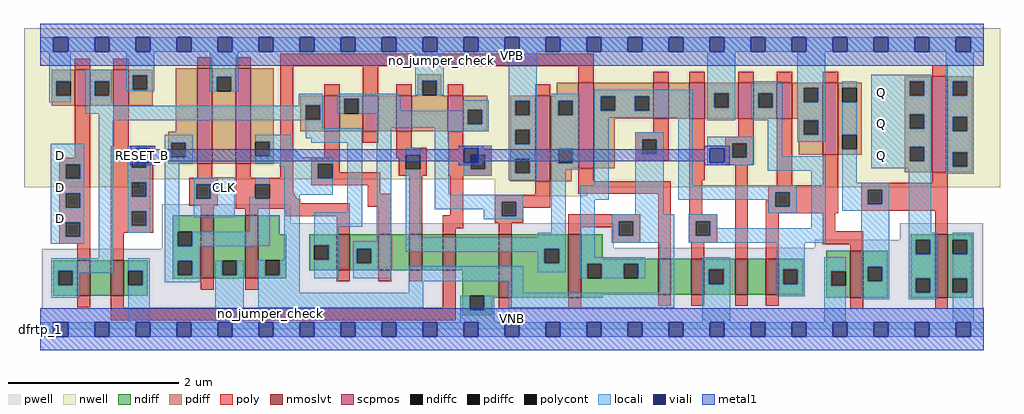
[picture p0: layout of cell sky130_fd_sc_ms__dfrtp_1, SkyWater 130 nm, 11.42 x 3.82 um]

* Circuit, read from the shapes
.subckt sky130_fd_sc_ms__dfrtp_1 CLK D RESET_B VGND VNB VPB VPWR Q
XM1 n1 D n2 VNB sky130_fd_pr__nfet_01v8_lvt w=0.42 l=0.15
XM2 VGND RESET_B n1 VNB sky130_fd_pr__nfet_01v8_lvt w=0.42 l=0.15
XM3 VGND CLK n3 VNB sky130_fd_pr__nfet_01v8_lvt w=0.74 l=0.15
XM4 n4 n3 VGND VNB sky130_fd_pr__nfet_01v8_lvt w=0.74 l=0.15
XM5 n5 n3 n2 VNB sky130_fd_pr__nfet_01v8_lvt w=0.42 l=0.15
XM6 n6 n4 n5 VNB sky130_fd_pr__nfet_01v8_lvt w=0.42 l=0.15
XM7 n7 n8 n6 VNB sky130_fd_pr__nfet_01v8_lvt w=0.42 l=0.15
XM8 VGND RESET_B n7 VNB sky130_fd_pr__nfet_01v8_lvt w=0.42 l=0.15
XM9 n8 n5 VGND VNB sky130_fd_pr__nfet_01v8_lvt w=0.74 l=0.15
XM10 n9 n4 n8 VNB sky130_fd_pr__nfet_01v8_lvt w=0.74 l=0.15
XM11 n10 n3 n9 VNB sky130_fd_pr__nfet_01v8_lvt w=0.42 l=0.15
XM12 VGND n11 n10 VNB sky130_fd_pr__nfet_01v8_lvt w=0.42 l=0.15
XM13 n12 RESET_B VGND VNB sky130_fd_pr__nfet_01v8_lvt w=0.42 l=0.15
XM14 n11 n9 n12 VNB sky130_fd_pr__nfet_01v8_lvt w=0.42 l=0.15
XM15 n13 n9 VGND VNB sky130_fd_pr__nfet_01v8_lvt w=0.55 l=0.15
XM16 VGND n13 Q VNB sky130_fd_pr__nfet_01v8_lvt w=0.74 l=0.15
XM17 n2 D VPWR VPB sky130_fd_pr__pfet_01v8 w=0.42 l=0.18
XM18 VPWR RESET_B n2 VPB sky130_fd_pr__pfet_01v8 w=0.42 l=0.18
XM19 VPWR CLK n3 VPB sky130_fd_pr__pfet_01v8 w=1.12 l=0.18
XM20 n4 n3 VPWR VPB sky130_fd_pr__pfet_01v8 w=1.12 l=0.18
XM21 n5 n4 n2 VPB sky130_fd_pr__pfet_01v8 w=0.42 l=0.18
XM22 n14 n3 n5 VPB sky130_fd_pr__pfet_01v8 w=0.42 l=0.18
XM23 VPWR n8 n14 VPB sky130_fd_pr__pfet_01v8 w=0.42 l=0.18
XM24 n5 RESET_B VPWR VPB sky130_fd_pr__pfet_01v8 w=0.42 l=0.18
XM25 n8 n5 VPWR VPB sky130_fd_pr__pfet_01v8 w=1 l=0.18
XM26 n9 n3 n8 VPB sky130_fd_pr__pfet_01v8 w=1 l=0.18
XM27 n15 n4 n9 VPB sky130_fd_pr__pfet_01v8 w=0.42 l=0.18
XM28 VPWR n11 n15 VPB sky130_fd_pr__pfet_01v8 w=0.42 l=0.18
XM29 n11 RESET_B VPWR VPB sky130_fd_pr__pfet_01v8 w=0.42 l=0.18
XM30 VPWR n9 n11 VPB sky130_fd_pr__pfet_01v8 w=0.42 l=0.18
XM31 n13 n9 VPWR VPB sky130_fd_pr__pfet_01v8 w=0.84 l=0.18
XM32 VPWR n13 Q VPB sky130_fd_pr__pfet_01v8 w=1.12 l=0.18
.ends

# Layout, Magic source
magic
tech sky130A
magscale 1 2
<< nwell >>
rect -38 351 2246 704
rect -38 332 230 351
rect 1064 332 2246 351
rect 1064 311 1280 332
<< pwell >>
rect 284 248 586 293
rect 284 191 1342 248
rect 2011 210 2207 248
rect 1813 191 2207 210
rect 284 188 2207 191
rect 4 49 2207 188
rect 0 0 2208 49
<< scpmos >>
rect 81 523 117 607
rect 171 523 207 607
rect 367 387 403 611
rect 457 387 493 611
rect 665 463 701 547
rect 755 463 791 547
rect 833 463 869 547
rect 954 463 990 547
rect 1158 347 1194 547
rect 1259 377 1295 577
rect 1435 493 1471 577
rect 1519 493 1555 577
rect 1634 493 1670 577
rect 1724 493 1760 577
rect 1831 409 1867 577
rect 2088 368 2124 592
<< nmoslvt >>
rect 87 78 117 162
rect 165 78 195 162
rect 376 119 406 267
rect 480 119 510 267
rect 694 138 724 222
rect 791 138 821 222
rect 864 138 894 222
rect 942 138 972 222
rect 1073 74 1103 222
rect 1236 74 1266 222
rect 1446 81 1476 165
rect 1524 81 1554 165
rect 1626 81 1656 165
rect 1698 81 1728 165
rect 1896 74 1926 184
rect 2094 74 2124 222
<< ndiff >>
rect 310 228 376 267
rect 310 194 322 228
rect 356 194 376 228
rect 30 137 87 162
rect 30 103 42 137
rect 76 103 87 137
rect 30 78 87 103
rect 117 78 165 162
rect 195 137 252 162
rect 195 103 206 137
rect 240 103 252 137
rect 310 160 376 194
rect 310 126 322 160
rect 356 126 376 160
rect 310 119 376 126
rect 406 160 480 267
rect 406 126 426 160
rect 460 126 480 160
rect 406 119 480 126
rect 510 222 560 267
rect 510 161 576 222
rect 510 127 526 161
rect 560 127 576 161
rect 630 197 694 222
rect 630 163 641 197
rect 675 163 694 197
rect 630 138 694 163
rect 724 189 791 222
rect 724 155 741 189
rect 775 155 791 189
rect 724 138 791 155
rect 821 138 864 222
rect 894 138 942 222
rect 972 138 1073 222
rect 510 119 576 127
rect 310 118 361 119
rect 195 78 252 103
rect 421 118 465 119
rect 987 79 1073 138
rect 987 45 1005 79
rect 1039 74 1073 79
rect 1103 188 1236 222
rect 1103 154 1180 188
rect 1214 154 1236 188
rect 1103 74 1236 154
rect 1266 165 1316 222
rect 2037 210 2094 222
rect 1266 153 1446 165
rect 1266 119 1280 153
rect 1314 119 1366 153
rect 1400 119 1446 153
rect 1266 81 1446 119
rect 1476 81 1524 165
rect 1554 140 1626 165
rect 1554 106 1565 140
rect 1599 106 1626 140
rect 1554 81 1626 106
rect 1656 81 1698 165
rect 1728 140 1785 165
rect 1728 106 1739 140
rect 1773 106 1785 140
rect 1728 81 1785 106
rect 1839 136 1896 184
rect 1839 102 1851 136
rect 1885 102 1896 136
rect 1266 74 1316 81
rect 1039 45 1058 74
rect 1839 74 1896 102
rect 1926 146 1983 184
rect 1926 112 1937 146
rect 1971 112 1983 146
rect 1926 74 1983 112
rect 2037 176 2049 210
rect 2083 176 2094 210
rect 2037 120 2094 176
rect 2037 86 2049 120
rect 2083 86 2094 120
rect 2037 74 2094 86
rect 2124 210 2181 222
rect 2124 176 2135 210
rect 2169 176 2181 210
rect 2124 120 2181 176
rect 2124 86 2135 120
rect 2169 86 2181 120
rect 2124 74 2181 86
rect 987 33 1058 45
<< pdiff >>
rect 27 581 81 607
rect 27 547 37 581
rect 71 547 81 581
rect 27 523 81 547
rect 117 581 171 607
rect 117 547 127 581
rect 161 547 171 581
rect 117 523 171 547
rect 207 595 263 607
rect 207 561 217 595
rect 251 561 263 595
rect 207 523 263 561
rect 317 462 367 611
rect 299 437 367 462
rect 299 403 307 437
rect 341 403 367 437
rect 299 387 367 403
rect 403 591 457 611
rect 403 557 413 591
rect 447 557 457 591
rect 403 387 457 557
rect 493 439 547 611
rect 493 405 503 439
rect 537 405 547 439
rect 493 387 547 405
rect 884 582 939 597
rect 884 548 894 582
rect 928 548 939 582
rect 2023 580 2088 592
rect 884 547 939 548
rect 1209 547 1259 577
rect 609 524 665 547
rect 609 490 621 524
rect 655 490 665 524
rect 609 463 665 490
rect 701 539 755 547
rect 701 505 711 539
rect 745 505 755 539
rect 701 463 755 505
rect 791 463 833 547
rect 869 463 954 547
rect 990 514 1046 547
rect 990 480 1000 514
rect 1034 480 1046 514
rect 990 463 1046 480
rect 1100 535 1158 547
rect 1100 501 1112 535
rect 1146 501 1158 535
rect 1100 467 1158 501
rect 1100 433 1112 467
rect 1146 433 1158 467
rect 1100 399 1158 433
rect 1100 365 1112 399
rect 1146 365 1158 399
rect 1100 347 1158 365
rect 1194 535 1259 547
rect 1194 501 1212 535
rect 1246 501 1259 535
rect 1194 423 1259 501
rect 1194 389 1212 423
rect 1246 389 1259 423
rect 1194 377 1259 389
rect 1295 545 1435 577
rect 1295 511 1312 545
rect 1346 511 1391 545
rect 1425 511 1435 545
rect 1295 493 1435 511
rect 1471 493 1519 577
rect 1555 552 1634 577
rect 1555 518 1577 552
rect 1611 518 1634 552
rect 1555 493 1634 518
rect 1670 552 1724 577
rect 1670 518 1680 552
rect 1714 518 1724 552
rect 1670 493 1724 518
rect 1760 565 1831 577
rect 1760 531 1787 565
rect 1821 531 1831 565
rect 1760 493 1831 531
rect 1295 377 1345 493
rect 1194 347 1244 377
rect 1775 489 1831 493
rect 1775 455 1787 489
rect 1821 455 1831 489
rect 1775 409 1831 455
rect 1867 565 1923 577
rect 1867 531 1877 565
rect 1911 531 1923 565
rect 1867 455 1923 531
rect 1867 421 1877 455
rect 1911 421 1923 455
rect 1867 409 1923 421
rect 2023 546 2035 580
rect 2069 546 2088 580
rect 2023 503 2088 546
rect 2023 469 2035 503
rect 2069 469 2088 503
rect 2023 427 2088 469
rect 2023 393 2035 427
rect 2069 393 2088 427
rect 2023 368 2088 393
rect 2124 580 2181 592
rect 2124 546 2135 580
rect 2169 546 2181 580
rect 2124 497 2181 546
rect 2124 463 2135 497
rect 2169 463 2181 497
rect 2124 414 2181 463
rect 2124 380 2135 414
rect 2169 380 2181 414
rect 2124 368 2181 380
<< ndiffc >>
rect 322 194 356 228
rect 42 103 76 137
rect 206 103 240 137
rect 322 126 356 160
rect 426 126 460 160
rect 526 127 560 161
rect 641 163 675 197
rect 741 155 775 189
rect 1005 45 1039 79
rect 1180 154 1214 188
rect 1280 119 1314 153
rect 1366 119 1400 153
rect 1565 106 1599 140
rect 1739 106 1773 140
rect 1851 102 1885 136
rect 1937 112 1971 146
rect 2049 176 2083 210
rect 2049 86 2083 120
rect 2135 176 2169 210
rect 2135 86 2169 120
<< pdiffc >>
rect 37 547 71 581
rect 127 547 161 581
rect 217 561 251 595
rect 307 403 341 437
rect 413 557 447 591
rect 503 405 537 439
rect 894 548 928 582
rect 621 490 655 524
rect 711 505 745 539
rect 1000 480 1034 514
rect 1112 501 1146 535
rect 1112 433 1146 467
rect 1112 365 1146 399
rect 1212 501 1246 535
rect 1212 389 1246 423
rect 1312 511 1346 545
rect 1391 511 1425 545
rect 1577 518 1611 552
rect 1680 518 1714 552
rect 1787 531 1821 565
rect 1787 455 1821 489
rect 1877 531 1911 565
rect 1877 421 1911 455
rect 2035 546 2069 580
rect 2035 469 2069 503
rect 2035 393 2069 427
rect 2135 546 2169 580
rect 2135 463 2169 497
rect 2135 380 2169 414
<< poly >>
rect 81 607 117 633
rect 171 607 207 633
rect 367 611 403 637
rect 457 611 493 637
rect 562 615 1295 645
rect 81 402 117 523
rect 171 428 207 523
rect 44 386 117 402
rect 44 352 60 386
rect 94 352 117 386
rect 44 318 117 352
rect 44 284 60 318
rect 94 284 117 318
rect 44 250 117 284
rect 44 216 60 250
rect 94 216 117 250
rect 44 200 117 216
rect 87 162 117 200
rect 165 412 264 428
rect 165 378 214 412
rect 248 378 264 412
rect 165 344 264 378
rect 367 355 403 387
rect 457 355 493 387
rect 562 355 592 615
rect 665 547 701 573
rect 755 547 791 615
rect 833 547 869 573
rect 1259 577 1295 615
rect 1435 577 1471 603
rect 1519 577 1555 603
rect 1634 577 1670 603
rect 1724 577 1760 603
rect 1831 577 1867 603
rect 2088 592 2124 618
rect 954 547 990 573
rect 1158 547 1194 573
rect 665 403 701 463
rect 755 437 791 463
rect 165 310 214 344
rect 248 310 264 344
rect 165 276 264 310
rect 349 339 415 355
rect 349 305 365 339
rect 399 305 415 339
rect 349 289 415 305
rect 457 339 592 355
rect 457 305 503 339
rect 537 318 592 339
rect 634 387 701 403
rect 833 425 869 463
rect 954 437 990 463
rect 955 425 990 437
rect 833 409 905 425
rect 833 400 855 409
rect 634 353 650 387
rect 684 367 701 387
rect 839 375 855 400
rect 889 375 905 409
rect 684 353 796 367
rect 839 359 905 375
rect 955 409 1057 425
rect 955 375 1007 409
rect 1041 375 1057 409
rect 955 359 1057 375
rect 634 337 796 353
rect 537 313 596 318
rect 766 317 796 337
rect 537 307 599 313
rect 537 305 604 307
rect 457 304 604 305
rect 457 295 608 304
rect 165 242 214 276
rect 248 242 264 276
rect 376 267 406 289
rect 457 282 724 295
rect 766 287 821 317
rect 480 267 510 282
rect 571 278 724 282
rect 165 226 264 242
rect 165 162 195 226
rect 575 265 724 278
rect 694 222 724 265
rect 791 222 821 287
rect 864 222 894 359
rect 960 267 990 359
rect 1435 461 1471 493
rect 1393 445 1471 461
rect 1393 411 1409 445
rect 1443 411 1471 445
rect 1393 395 1471 411
rect 1259 347 1295 377
rect 1519 349 1555 493
rect 1634 451 1670 493
rect 1603 435 1670 451
rect 1603 401 1619 435
rect 1653 401 1670 435
rect 1603 385 1670 401
rect 1158 315 1194 347
rect 1259 317 1476 347
rect 942 237 990 267
rect 1064 299 1194 315
rect 1064 265 1080 299
rect 1114 285 1194 299
rect 1114 265 1130 285
rect 1064 249 1130 265
rect 1236 253 1404 269
rect 942 222 972 237
rect 1073 222 1103 249
rect 1236 239 1354 253
rect 1236 222 1266 239
rect 376 93 406 119
rect 480 93 510 119
rect 694 112 724 138
rect 791 112 821 138
rect 864 112 894 138
rect 87 52 117 78
rect 165 51 195 78
rect 942 51 972 138
rect 165 21 972 51
rect 1338 219 1354 239
rect 1388 219 1404 253
rect 1338 203 1404 219
rect 1446 165 1476 317
rect 1519 269 1549 349
rect 1518 253 1584 269
rect 1518 219 1534 253
rect 1568 219 1584 253
rect 1518 203 1584 219
rect 1524 165 1554 203
rect 1626 165 1656 385
rect 1724 337 1760 493
rect 1831 337 1867 409
rect 2088 343 2124 368
rect 1704 321 1867 337
rect 1704 301 1720 321
rect 1698 287 1720 301
rect 1754 287 1867 321
rect 1698 271 1867 287
rect 1921 327 2124 343
rect 1921 293 1937 327
rect 1971 293 2124 327
rect 1921 277 2124 293
rect 1698 165 1728 271
rect 1831 229 1861 271
rect 1831 199 1926 229
rect 2094 222 2124 277
rect 1896 184 1926 199
rect 1073 48 1103 74
rect 1236 48 1266 74
rect 1446 55 1476 81
rect 1524 55 1554 81
rect 1626 55 1656 81
rect 1698 55 1728 81
rect 1896 48 1926 74
rect 2094 48 2124 74
<< polycont >>
rect 60 352 94 386
rect 60 284 94 318
rect 60 216 94 250
rect 214 378 248 412
rect 214 310 248 344
rect 365 305 399 339
rect 503 305 537 339
rect 650 353 684 387
rect 855 375 889 409
rect 1007 375 1041 409
rect 214 242 248 276
rect 1409 411 1443 445
rect 1619 401 1653 435
rect 1080 265 1114 299
rect 1354 219 1388 253
rect 1534 219 1568 253
rect 1720 287 1754 321
rect 1937 293 1971 327
<< locali >>
rect 0 649 31 683
rect 65 649 127 683
rect 161 649 223 683
rect 257 649 319 683
rect 353 649 415 683
rect 449 649 511 683
rect 545 649 607 683
rect 641 649 703 683
rect 737 649 799 683
rect 833 649 895 683
rect 929 649 991 683
rect 1025 649 1087 683
rect 1121 649 1183 683
rect 1217 649 1279 683
rect 1313 649 1375 683
rect 1409 649 1471 683
rect 1505 649 1567 683
rect 1601 649 1663 683
rect 1697 649 1759 683
rect 1793 649 1855 683
rect 1889 649 1951 683
rect 1985 649 2047 683
rect 2081 649 2143 683
rect 2177 649 2208 683
rect 21 581 71 649
rect 21 547 37 581
rect 21 531 71 547
rect 105 581 167 607
rect 105 547 127 581
rect 161 547 167 581
rect 201 595 267 649
rect 201 561 217 595
rect 251 561 267 595
rect 201 557 267 561
rect 397 591 463 649
rect 397 557 413 591
rect 447 557 463 591
rect 878 582 944 649
rect 105 530 167 547
rect 105 525 173 530
rect 105 523 177 525
rect 605 524 661 551
rect 605 523 621 524
rect 105 504 621 523
rect 137 490 621 504
rect 655 490 661 524
rect 695 539 843 551
rect 878 548 894 582
rect 928 548 944 582
rect 695 505 711 539
rect 745 512 843 539
rect 990 514 1050 536
rect 990 512 1000 514
rect 745 505 1000 512
rect 137 489 661 490
rect 25 386 103 434
rect 25 352 60 386
rect 94 352 103 386
rect 25 318 103 352
rect 25 284 60 318
rect 94 284 103 318
rect 25 250 103 284
rect 25 216 60 250
rect 94 216 103 250
rect 25 200 103 216
rect 137 166 171 489
rect 621 471 661 489
rect 787 480 1000 505
rect 1034 480 1050 514
rect 787 472 1050 480
rect 291 437 357 455
rect 205 424 257 428
rect 205 412 223 424
rect 205 378 214 412
rect 248 378 257 390
rect 205 344 257 378
rect 205 310 214 344
rect 248 310 257 344
rect 205 276 257 310
rect 205 242 214 276
rect 248 242 257 276
rect 205 226 257 242
rect 291 403 307 437
rect 341 403 357 437
rect 291 389 357 403
rect 503 439 587 455
rect 621 447 753 471
rect 537 426 587 439
rect 634 437 753 447
rect 537 422 592 426
rect 537 418 596 422
rect 537 412 603 418
rect 537 407 606 412
rect 537 405 610 407
rect 503 403 610 405
rect 503 389 685 403
rect 291 228 325 389
rect 561 387 685 389
rect 561 380 650 387
rect 409 355 455 356
rect 359 339 455 355
rect 359 305 365 339
rect 399 305 455 339
rect 503 339 537 355
rect 359 262 455 305
rect 489 305 503 310
rect 489 228 537 305
rect 291 194 322 228
rect 356 195 537 228
rect 571 353 650 380
rect 684 353 685 387
rect 571 315 685 353
rect 356 194 500 195
rect 26 137 171 166
rect 26 103 42 137
rect 76 132 171 137
rect 206 137 256 166
rect 76 103 92 132
rect 26 74 92 103
rect 240 103 256 137
rect 291 160 374 194
rect 571 161 607 315
rect 719 274 753 437
rect 291 126 322 160
rect 356 126 374 160
rect 291 110 374 126
rect 410 126 426 160
rect 460 126 476 160
rect 206 17 256 103
rect 410 17 476 126
rect 510 127 526 161
rect 560 127 607 161
rect 510 85 607 127
rect 641 240 753 274
rect 641 197 699 240
rect 787 206 821 472
rect 923 464 1050 472
rect 1096 535 1162 649
rect 1096 501 1112 535
rect 1146 501 1162 535
rect 1096 467 1162 501
rect 675 163 699 197
rect 641 119 699 163
rect 733 189 821 206
rect 733 155 741 189
rect 775 155 821 189
rect 855 409 889 425
rect 855 215 889 375
rect 923 315 957 464
rect 1096 433 1112 467
rect 1146 433 1162 467
rect 991 424 1057 430
rect 1025 409 1057 424
rect 991 375 1007 390
rect 1041 375 1057 409
rect 991 359 1057 375
rect 1096 399 1162 433
rect 1096 365 1112 399
rect 1146 365 1162 399
rect 1096 349 1162 365
rect 1196 535 1262 551
rect 1196 501 1212 535
rect 1246 501 1262 535
rect 1196 423 1262 501
rect 1196 389 1212 423
rect 1246 389 1262 423
rect 1196 373 1262 389
rect 1296 545 1527 561
rect 1296 511 1312 545
rect 1346 511 1391 545
rect 1425 511 1527 545
rect 1296 495 1527 511
rect 923 299 1130 315
rect 923 281 1080 299
rect 1038 265 1080 281
rect 1114 265 1130 299
rect 1038 257 1130 265
rect 1196 226 1230 373
rect 1296 337 1330 495
rect 1164 215 1230 226
rect 855 188 1230 215
rect 855 181 1180 188
rect 733 119 821 155
rect 1164 154 1180 181
rect 1214 154 1230 188
rect 862 113 1130 147
rect 1164 133 1230 154
rect 1264 303 1330 337
rect 1393 445 1459 461
rect 1393 411 1409 445
rect 1443 411 1459 445
rect 1264 169 1298 303
rect 1393 269 1459 411
rect 1493 337 1527 495
rect 1561 552 1627 649
rect 1561 518 1577 552
rect 1611 518 1627 552
rect 1561 489 1627 518
rect 1664 552 1737 581
rect 1664 518 1680 552
rect 1714 518 1737 552
rect 1664 489 1737 518
rect 1561 435 1669 451
rect 1561 424 1619 435
rect 1561 390 1567 424
rect 1601 401 1619 424
rect 1653 401 1669 435
rect 1601 390 1669 401
rect 1561 384 1669 390
rect 1703 405 1737 489
rect 1771 565 1837 649
rect 1771 531 1787 565
rect 1821 531 1837 565
rect 1771 489 1837 531
rect 1771 455 1787 489
rect 1821 455 1837 489
rect 1771 439 1837 455
rect 1877 565 1911 581
rect 1877 455 1911 531
rect 1703 371 1838 405
rect 1493 321 1770 337
rect 1493 303 1720 321
rect 1704 287 1720 303
rect 1754 287 1770 321
rect 1704 271 1770 287
rect 1338 253 1484 269
rect 1338 219 1354 253
rect 1388 219 1484 253
rect 1338 203 1484 219
rect 1518 253 1584 269
rect 1518 219 1534 253
rect 1568 237 1584 253
rect 1804 237 1838 371
rect 1877 343 1911 421
rect 1945 580 2085 596
rect 1945 546 2035 580
rect 2069 546 2085 580
rect 1945 503 2085 546
rect 1945 469 2035 503
rect 2069 469 2085 503
rect 1945 427 2085 469
rect 1945 393 2035 427
rect 2069 393 2085 427
rect 1945 377 2085 393
rect 1877 327 1987 343
rect 1877 293 1937 327
rect 1971 293 1987 327
rect 1877 277 1987 293
rect 1568 219 1838 237
rect 1518 203 1838 219
rect 1264 153 1416 169
rect 1264 119 1280 153
rect 1314 119 1366 153
rect 1400 119 1416 153
rect 862 85 896 113
rect 510 51 896 85
rect 1096 85 1130 113
rect 1450 85 1484 203
rect 983 45 1005 79
rect 1039 45 1062 79
rect 1096 51 1484 85
rect 1549 140 1615 169
rect 1549 106 1565 140
rect 1599 106 1615 140
rect 983 17 1062 45
rect 1549 17 1615 106
rect 1723 140 1789 203
rect 1723 106 1739 140
rect 1773 106 1789 140
rect 1723 77 1789 106
rect 1835 136 1885 169
rect 1835 102 1851 136
rect 1835 17 1885 102
rect 1921 146 1987 277
rect 1921 112 1937 146
rect 1971 112 1987 146
rect 1921 70 1987 112
rect 2033 226 2085 377
rect 2119 580 2185 649
rect 2119 546 2135 580
rect 2169 546 2185 580
rect 2119 497 2185 546
rect 2119 463 2135 497
rect 2169 463 2185 497
rect 2119 414 2185 463
rect 2119 380 2135 414
rect 2169 380 2185 414
rect 2119 364 2185 380
rect 2033 210 2099 226
rect 2033 176 2049 210
rect 2083 176 2099 210
rect 2033 120 2099 176
rect 2033 86 2049 120
rect 2083 86 2099 120
rect 2033 70 2099 86
rect 2135 210 2185 226
rect 2169 176 2185 210
rect 2135 120 2185 176
rect 2169 86 2185 120
rect 2135 17 2185 86
rect 0 -17 31 17
rect 65 -17 127 17
rect 161 -17 223 17
rect 257 -17 319 17
rect 353 -17 415 17
rect 449 -17 511 17
rect 545 -17 607 17
rect 641 -17 703 17
rect 737 -17 799 17
rect 833 -17 895 17
rect 929 -17 991 17
rect 1025 -17 1087 17
rect 1121 -17 1183 17
rect 1217 -17 1279 17
rect 1313 -17 1375 17
rect 1409 -17 1471 17
rect 1505 -17 1567 17
rect 1601 -17 1663 17
rect 1697 -17 1759 17
rect 1793 -17 1855 17
rect 1889 -17 1951 17
rect 1985 -17 2047 17
rect 2081 -17 2143 17
rect 2177 -17 2208 17
<< viali >>
rect 31 649 65 683
rect 127 649 161 683
rect 223 649 257 683
rect 319 649 353 683
rect 415 649 449 683
rect 511 649 545 683
rect 607 649 641 683
rect 703 649 737 683
rect 799 649 833 683
rect 895 649 929 683
rect 991 649 1025 683
rect 1087 649 1121 683
rect 1183 649 1217 683
rect 1279 649 1313 683
rect 1375 649 1409 683
rect 1471 649 1505 683
rect 1567 649 1601 683
rect 1663 649 1697 683
rect 1759 649 1793 683
rect 1855 649 1889 683
rect 1951 649 1985 683
rect 2047 649 2081 683
rect 2143 649 2177 683
rect 223 412 257 424
rect 223 390 248 412
rect 248 390 257 412
rect 991 409 1025 424
rect 991 390 1007 409
rect 1007 390 1025 409
rect 1567 390 1601 424
rect 31 -17 65 17
rect 127 -17 161 17
rect 223 -17 257 17
rect 319 -17 353 17
rect 415 -17 449 17
rect 511 -17 545 17
rect 607 -17 641 17
rect 703 -17 737 17
rect 799 -17 833 17
rect 895 -17 929 17
rect 991 -17 1025 17
rect 1087 -17 1121 17
rect 1183 -17 1217 17
rect 1279 -17 1313 17
rect 1375 -17 1409 17
rect 1471 -17 1505 17
rect 1567 -17 1601 17
rect 1663 -17 1697 17
rect 1759 -17 1793 17
rect 1855 -17 1889 17
rect 1951 -17 1985 17
rect 2047 -17 2081 17
rect 2143 -17 2177 17
<< metal1 >>
rect 0 683 2208 715
rect 0 649 31 683
rect 65 649 127 683
rect 161 649 223 683
rect 257 649 319 683
rect 353 649 415 683
rect 449 649 511 683
rect 545 649 607 683
rect 641 649 703 683
rect 737 649 799 683
rect 833 649 895 683
rect 929 649 991 683
rect 1025 649 1087 683
rect 1121 649 1183 683
rect 1217 649 1279 683
rect 1313 649 1375 683
rect 1409 649 1471 683
rect 1505 649 1567 683
rect 1601 649 1663 683
rect 1697 649 1759 683
rect 1793 649 1855 683
rect 1889 649 1951 683
rect 1985 649 2047 683
rect 2081 649 2143 683
rect 2177 649 2208 683
rect 0 617 2208 649
rect 211 424 269 430
rect 211 390 223 424
rect 257 421 269 424
rect 979 424 1037 430
rect 979 421 991 424
rect 257 393 991 421
rect 257 390 269 393
rect 211 384 269 390
rect 979 390 991 393
rect 1025 421 1037 424
rect 1555 424 1613 430
rect 1555 421 1567 424
rect 1025 393 1567 421
rect 1025 390 1037 393
rect 979 384 1037 390
rect 1555 390 1567 393
rect 1601 390 1613 424
rect 1555 384 1613 390
rect 0 17 2208 49
rect 0 -17 31 17
rect 65 -17 127 17
rect 161 -17 223 17
rect 257 -17 319 17
rect 353 -17 415 17
rect 449 -17 511 17
rect 545 -17 607 17
rect 641 -17 703 17
rect 737 -17 799 17
rect 833 -17 895 17
rect 929 -17 991 17
rect 1025 -17 1087 17
rect 1121 -17 1183 17
rect 1217 -17 1279 17
rect 1313 -17 1375 17
rect 1409 -17 1471 17
rect 1505 -17 1567 17
rect 1601 -17 1663 17
rect 1697 -17 1759 17
rect 1793 -17 1855 17
rect 1889 -17 1951 17
rect 1985 -17 2047 17
rect 2081 -17 2143 17
rect 2177 -17 2208 17
rect 0 -49 2208 -17
<< labels >>
flabel pwell s 0 0 2208 49 0 FreeSans 200 0 0 0 VNB
port 5 nsew ground bidirectional
flabel nwell s 0 617 2208 666 0 FreeSans 200 0 0 0 VPB
port 6 nsew power bidirectional
flabel comment s 940 630 940 630 0 FreeSans 300 0 0 0 no_jumper_check
flabel comment s 540 36 540 36 0 FreeSans 300 0 0 0 no_jumper_check
rlabel comment s 0 0 0 0 4 dfrtp_1
flabel metal1 s 223 390 257 424 0 FreeSans 340 0 0 0 RESET_B
port 3 nsew signal input
flabel metal1 s 0 617 2208 666 0 FreeSans 340 0 0 0 VPWR
port 7 nsew power bidirectional
flabel metal1 s 0 0 2208 49 0 FreeSans 340 0 0 0 VGND
port 4 nsew ground bidirectional
flabel locali s 1951 390 1985 424 0 FreeSans 340 0 0 0 Q
port 8 nsew signal output
flabel locali s 1951 464 1985 498 0 FreeSans 340 0 0 0 Q
port 8 nsew signal output
flabel locali s 1951 538 1985 572 0 FreeSans 340 0 0 0 Q
port 8 nsew signal output
flabel locali s 415 316 449 350 0 FreeSans 340 0 0 0 CLK
port 1 nsew clock input
flabel locali s 31 242 65 276 0 FreeSans 340 0 0 0 D
port 2 nsew signal input
flabel locali s 31 316 65 350 0 FreeSans 340 0 0 0 D
port 2 nsew signal input
flabel locali s 31 390 65 424 0 FreeSans 340 0 0 0 D
port 2 nsew signal input
<< properties >>
string LEFsite unit
string LEFclass CORE
string FIXED_BBOX 0 0 2208 666
string GDS_FILE $PDKPATH/libs.ref/sky130_fd_sc_ms/gds/sky130_fd_sc_ms.gds
string LEFsymmetry X Y R90
string GDS_END 414636
string GDS_START 397630
<< end >>
